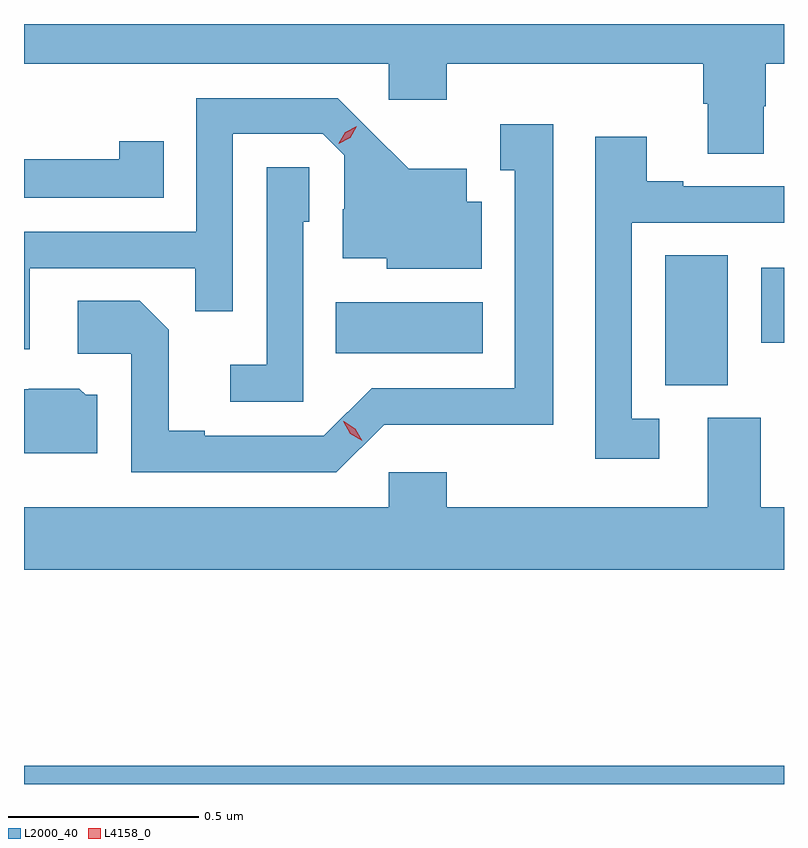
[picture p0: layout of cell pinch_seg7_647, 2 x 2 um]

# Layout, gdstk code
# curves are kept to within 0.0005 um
import gdstk
lib = gdstk.Library(unit=1e-6, precision=1e-09)
def R(c, l, rs):  # rectangles x0, y0, x1, y1
    for r in rs: c.add(gdstk.rectangle(r[:2], r[2:], *l))
def P(c, l, *ps):  # polygons
    for p in ps: c.add(gdstk.Polygon(p, *l))
L2000_40 = (2000, 40)
L4158_0 = (4158, 0)

pinch_seg7_647 = lib.new_cell('pinch_seg7_647')
R(pinch_seg7_647, L2000_40, [(148.536,1037.348,150.536,1037.396), (150.224,1038.397,150.388,1038.74), (149.356,1038.482,149.743,1038.616), (150.476,1038.509,150.536,1038.706)])
P(pinch_seg7_647, L2000_40, [(148.536,1039.244),(149.496,1039.244),(149.496,1039.149),(149.648,1039.149),(149.648,1039.244),(150.323,1039.244),(150.323,1039.138),(150.335,1039.138),(150.335,1039.006),(150.483,1039.006),(150.483,1039.131),(150.488,1039.131),(150.488,1039.244),(150.536,1039.244),(150.536,1039.348),(148.536,1039.348)],
  [(148.551,1038.705),(148.987,1038.705),(148.987,1038.592),(149.085,1038.592),(149.085,1039.059),(149.322,1039.059),(149.379,1039.002),(149.379,1038.86),(149.375,1038.86),(149.375,1038.731),(149.49,1038.731),(149.49,1038.704),(149.74,1038.704),(149.74,1038.88),(149.701,1038.88),(149.701,1038.967),(149.549,1038.967),(149.362,1039.152),(148.989,1039.152),(148.989,1038.801),(148.536,1038.801),(148.536,1038.492),(148.551,1038.492)],
  [(149.484,1038.294),(149.706,1038.294),(149.706,1038.293),(149.929,1038.293),(149.929,1039.084),(149.789,1039.084),(149.789,1038.963),(149.828,1038.963),(149.828,1038.39),(149.451,1038.39),(149.325,1038.264),(149.011,1038.264),(149.011,1038.277),(148.917,1038.277),(148.917,1038.544),(148.841,1038.62),(148.677,1038.62),(148.677,1038.48),(148.818,1038.48),(148.818,1038.168),(149.358,1038.168)],
  [(150.208,1038.309),(150.135,1038.309),(150.135,1038.825),(150.536,1038.825),(150.536,1038.921),(150.271,1038.921),(150.271,1038.934),(150.175,1038.934),(150.175,1039.051),(150.039,1039.051),(150.039,1038.204),(150.208,1038.204)],
  [(148.904,1039.039),(148.786,1039.039),(148.786,1038.992),(148.536,1038.992),(148.536,1038.891),(148.904,1038.891)],
  [(149.271,1038.828),(149.286,1038.828),(149.286,1038.971),(149.175,1038.971),(149.175,1038.451),(149.079,1038.451),(149.079,1038.354),(149.271,1038.354)],
  [(148.729,1038.372),(148.698,1038.372),(148.682,1038.388),(148.548,1038.388),(148.548,1038.387),(148.536,1038.387),(148.536,1038.218),(148.729,1038.218)],
  [(150.536,1038.076),(150.475,1038.076),(150.475,1038.312),(150.335,1038.312),(150.335,1038.076),(149.648,1038.076),(149.648,1038.169),(149.496,1038.169),(149.496,1038.076),(148.536,1038.076),(148.536,1037.912),(150.536,1037.912)])
P(pinch_seg7_647, L4158_0, [(149.364,1039.033),(149.364,1039.034),(149.381,1039.063),(149.412,1039.079),(149.412,1039.079),(149.412,1039.079),(149.395,1039.049),(149.364,1039.033)],
  [(149.426,1038.251),(149.394,1038.27),(149.376,1038.302),(149.376,1038.302),(149.377,1038.302),(149.408,1038.283),(149.426,1038.251),(149.426,1038.251)])

lib.write_gds('pinch_seg7_647.gds')
